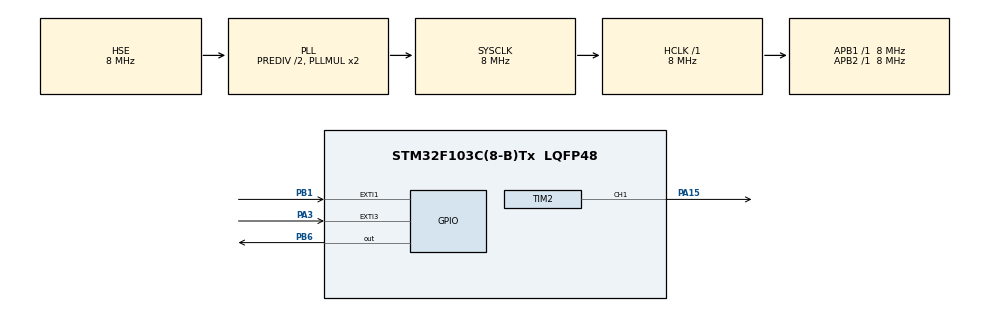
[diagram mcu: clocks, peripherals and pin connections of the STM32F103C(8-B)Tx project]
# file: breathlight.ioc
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Mcu.Family=STM32F1
Mcu.Name=STM32F103C(8-B)Tx
Mcu.Package=LQFP48
NVIC.EXTI1_IRQn=true\:0\:0\:false\:false\:true\:true\:true\:true
NVIC.EXTI3_IRQn=true\:0\:0\:false\:false\:true\:true\:true\:true
NVIC.PriorityGroup=NVIC_PRIORITYGROUP_4
NVIC.TIM4_IRQn=true\:0\:0\:false\:false\:true\:true\:true\:true
PA13.Mode=Serial_Wire
PA13.Signal=SYS_JTMS-SWDIO
PA14.Mode=Serial_Wire
PA14.Signal=SYS_JTCK-SWCLK
PA15.GPIO_ModeDefaultPP=GPIO_MODE_AF_PP
PA15.Signal=S_TIM2_CH1_ETR
PA3.GPIO_ModeDefaultEXTI=GPIO_MODE_IT_FALLING
PA3.GPIO_PuPd=GPIO_PULLUP
PA3.Signal=GPXTI3
PB1.GPIO_ModeDefaultEXTI=GPIO_MODE_IT_FALLING
PB1.GPIO_PuPd=GPIO_PULLUP
PB1.Signal=GPXTI1
PB6.Signal=GPIO_Output
PD0-OSC_IN.Mode=HSE-External-Oscillator
PD0-OSC_IN.Signal=RCC_OSC_IN
PD1-OSC_OUT.Mode=HSE-External-Oscillator
PD1-OSC_OUT.Signal=RCC_OSC_OUT
ProjectManager.HeapSize=0x200
ProjectManager.StackSize=0x400
ProjectManager.TargetToolchain=CMake
RCC.AHBFreq_Value=8000000
RCC.APB1Freq_Value=8000000
RCC.APB1TimFreq_Value=8000000
RCC.APB2Freq_Value=8000000
RCC.APB2TimFreq_Value=8000000
RCC.HCLKFreq_Value=8000000
RCC.HSEDivPLL=RCC_HSE_PREDIV_DIV2
RCC.PLLSourceVirtual=RCC_PLLSOURCE_HSE
RCC.SYSCLKFreq_VALUE=8000000
RCC.SYSCLKSource=RCC_SYSCLKSOURCE_PLLCLK
RCC.USBFreq_Value=8000000
SH.S_TIM2_CH1_ETR.0=TIM2_CH1,PWM Generation1 CH1
TIM2.AutoReloadPreload=TIM_AUTORELOAD_PRELOAD_ENABLE
TIM2.Channel-PWM\ Generation1\ CH1=TIM_CHANNEL_1
TIM2.Period=99
TIM2.Prescaler=799
TIM4.AutoReloadPreload=TIM_AUTORELOAD_PRELOAD_ENABLE
TIM4.Period=999
TIM4.Prescaler=7999
VP_TIM2_VS_ClockSourceINT.Mode=Internal
VP_TIM4_VS_ClockSourceINT.Mode=Internal
board=custom

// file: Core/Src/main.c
/* USER CODE BEGIN Header */
/**
  ******************************************************************************
  * @file           : main.c
  * @brief          : Main program body
  ******************************************************************************
  * @attention
  *
  * Copyright (c) 2026 STMicroelectronics.
  * All rights reserved.
  *
  * This software is licensed under terms that can be found in the LICENSE file
  * in the root directory of this software component.
  * If no LICENSE file comes with this software, it is provided AS-IS.
  *
  ******************************************************************************
  */
/* USER CODE END Header */
#include "main.h"

/* USER CODE BEGIN Includes */
//12345665356651651
/* USER CODE END Includes */

TIM_HandleTypeDef htim2;
TIM_HandleTypeDef htim4;

void SystemClock_Config(void);
static void MX_GPIO_Init(void);
static void MX_TIM2_Init(void);
static void MX_TIM4_Init(void);

/* USER CODE BEGIN 0 */
int a = 1;
/* USER CODE END 0 */

int main(void)
{

  /* MCU Configuration--------------------------------------------------------*/

  /* Reset of all peripherals, Initializes the Flash interface and the Systick. */
  HAL_Init();

  /* Configure the system clock */
  SystemClock_Config();

  /* Initialize all configured peripherals */
  MX_GPIO_Init();
  MX_TIM2_Init();
  MX_TIM4_Init();

  /* Infinite loop */
  /* USER CODE BEGIN WHILE */
  while (1)
  {
    HAL_TIM_PWM_Start(&htim2,TIM_CHANNEL_1);
    HAL_StatusTypeDef status = HAL_TIM_Base_Start_IT(&htim4);
    int i = 0;
    HAL_GPIO_WritePin(GPIOB, GPIO_PIN_6,GPIO_PIN_SET);
    while (1)
    {
      if (a == 1)
      {
        while (1)
        {
          __HAL_TIM_SET_COMPARE(&htim2,TIM_CHANNEL_1,i);
          HAL_Delay(10);
          if (i >= 100)
            break;
            i++;
        }
        while (1)
        {
          __HAL_TIM_SET_COMPARE(&htim2,TIM_CHANNEL_1,i);
          HAL_Delay(10);
          if (i == 0)
            break;
            i--;
        }
      }
      if (a ==2)
      {
        while (1)
        {
          __HAL_TIM_SET_COMPARE(&htim2,TIM_CHANNEL_1,i);
          HAL_Delay(10);
          if (i >= 100)
            break;
          i = i + 5;
        }
        i = 100;
        while (1)
        {
          __HAL_TIM_SET_COMPARE(&htim2,TIM_CHANNEL_1,i);
          HAL_Delay(10);
          if (i == 0)
            break;
          i = i - 5;
        }
      }
      if (a == 0)
      {
        __HAL_TIM_SET_COMPARE(&htim2,TIM_CHANNEL_1,0);

      }
    }
    /* USER CODE END WHILE */

  }
}

void SystemClock_Config(void)
{
  RCC_OscInitTypeDef RCC_OscInitStruct = {0};
  RCC_ClkInitTypeDef RCC_ClkInitStruct = {0};

  /** Initializes the RCC Oscillators according to the specified parameters
  * in the RCC_OscInitTypeDef structure.
  */
  RCC_OscInitStruct.OscillatorType = RCC_OSCILLATORTYPE_HSE;
  RCC_OscInitStruct.HSEState = RCC_HSE_ON;
  RCC_OscInitStruct.HSEPredivValue = RCC_HSE_PREDIV_DIV2;
  RCC_OscInitStruct.HSIState = RCC_HSI_ON;
  RCC_OscInitStruct.PLL.PLLState = RCC_PLL_ON;
  RCC_OscInitStruct.PLL.PLLSource = RCC_PLLSOURCE_HSE;
  RCC_OscInitStruct.PLL.PLLMUL = RCC_PLL_MUL2;
  if (HAL_RCC_OscConfig(&RCC_OscInitStruct) != HAL_OK)
  {
    Error_Handler();
  }

  /** Initializes the CPU, AHB and APB buses clocks
  */
  RCC_ClkInitStruct.ClockType = RCC_CLOCKTYPE_HCLK|RCC_CLOCKTYPE_SYSCLK
                              |RCC_CLOCKTYPE_PCLK1|RCC_CLOCKTYPE_PCLK2;
  RCC_ClkInitStruct.SYSCLKSource = RCC_SYSCLKSOURCE_PLLCLK;
  RCC_ClkInitStruct.AHBCLKDivider = RCC_SYSCLK_DIV1;
  RCC_ClkInitStruct.APB1CLKDivider = RCC_HCLK_DIV1;
  RCC_ClkInitStruct.APB2CLKDivider = RCC_HCLK_DIV1;

  if (HAL_RCC_ClockConfig(&RCC_ClkInitStruct, FLASH_LATENCY_0) != HAL_OK)
  {
    Error_Handler();
  }
}

static void MX_TIM2_Init(void)
{

  TIM_ClockConfigTypeDef sClockSourceConfig = {0};
  TIM_MasterConfigTypeDef sMasterConfig = {0};
  TIM_OC_InitTypeDef sConfigOC = {0};

  htim2.Instance = TIM2;
  htim2.Init.Prescaler = 799;
  htim2.Init.CounterMode = TIM_COUNTERMODE_UP;
  htim2.Init.Period = 99;
  htim2.Init.ClockDivision = TIM_CLOCKDIVISION_DIV1;
  htim2.Init.AutoReloadPreload = TIM_AUTORELOAD_PRELOAD_ENABLE;
  if (HAL_TIM_Base_Init(&htim2) != HAL_OK)
  {
    Error_Handler();
  }
  sClockSourceConfig.ClockSource = TIM_CLOCKSOURCE_INTERNAL;
  if (HAL_TIM_ConfigClockSource(&htim2, &sClockSourceConfig) != HAL_OK)
  {
    Error_Handler();
  }
  if (HAL_TIM_PWM_Init(&htim2) != HAL_OK)
  {
    Error_Handler();
  }
  sMasterConfig.MasterOutputTrigger = TIM_TRGO_RESET;
  sMasterConfig.MasterSlaveMode = TIM_MASTERSLAVEMODE_DISABLE;
  if (HAL_TIMEx_MasterConfigSynchronization(&htim2, &sMasterConfig) != HAL_OK)
  {
    Error_Handler();
  }
  sConfigOC.OCMode = TIM_OCMODE_PWM1;
  sConfigOC.Pulse = 0;
  sConfigOC.OCPolarity = TIM_OCPOLARITY_HIGH;
  sConfigOC.OCFastMode = TIM_OCFAST_DISABLE;
  if (HAL_TIM_PWM_ConfigChannel(&htim2, &sConfigOC, TIM_CHANNEL_1) != HAL_OK)
  {
    Error_Handler();
  }
  HAL_TIM_MspPostInit(&htim2);

}

static void MX_TIM4_Init(void)
{

  TIM_ClockConfigTypeDef sClockSourceConfig = {0};
  TIM_MasterConfigTypeDef sMasterConfig = {0};

  htim4.Instance = TIM4;
  htim4.Init.Prescaler = 7999;
  htim4.Init.CounterMode = TIM_COUNTERMODE_UP;
  htim4.Init.Period = 999;
  htim4.Init.ClockDivision = TIM_CLOCKDIVISION_DIV1;
  htim4.Init.AutoReloadPreload = TIM_AUTORELOAD_PRELOAD_ENABLE;
  if (HAL_TIM_Base_Init(&htim4) != HAL_OK)
  {
    Error_Handler();
  }
  sClockSourceConfig.ClockSource = TIM_CLOCKSOURCE_INTERNAL;
  if (HAL_TIM_ConfigClockSource(&htim4, &sClockSourceConfig) != HAL_OK)
  {
    Error_Handler();
  }
  sMasterConfig.MasterOutputTrigger = TIM_TRGO_RESET;
  sMasterConfig.MasterSlaveMode = TIM_MASTERSLAVEMODE_DISABLE;
  if (HAL_TIMEx_MasterConfigSynchronization(&htim4, &sMasterConfig) != HAL_OK)
  {
    Error_Handler();
  }

}

static void MX_GPIO_Init(void)
{
  GPIO_InitTypeDef GPIO_InitStruct = {0};

  /* GPIO Ports Clock Enable */
  __HAL_RCC_GPIOD_CLK_ENABLE();
  __HAL_RCC_GPIOA_CLK_ENABLE();
  __HAL_RCC_GPIOB_CLK_ENABLE();

  /*Configure GPIO pin Output Level */
  HAL_GPIO_WritePin(GPIOB, GPIO_PIN_6, GPIO_PIN_RESET);

  /*Configure GPIO pin : PA3 */
  GPIO_InitStruct.Pin = GPIO_PIN_3;
  GPIO_InitStruct.Mode = GPIO_MODE_IT_FALLING;
  GPIO_InitStruct.Pull = GPIO_PULLUP;
  HAL_GPIO_Init(GPIOA, &GPIO_InitStruct);

  /*Configure GPIO pin : PB1 */
  GPIO_InitStruct.Pin = GPIO_PIN_1;
  GPIO_InitStruct.Mode = GPIO_MODE_IT_FALLING;
  GPIO_InitStruct.Pull = GPIO_PULLUP;
  HAL_GPIO_Init(GPIOB, &GPIO_InitStruct);

  /*Configure GPIO pin : PB6 */
  GPIO_InitStruct.Pin = GPIO_PIN_6;
  GPIO_InitStruct.Mode = GPIO_MODE_OUTPUT_PP;
  GPIO_InitStruct.Pull = GPIO_NOPULL;
  GPIO_InitStruct.Speed = GPIO_SPEED_FREQ_LOW;
  HAL_GPIO_Init(GPIOB, &GPIO_InitStruct);

  /* EXTI interrupt init*/
  HAL_NVIC_SetPriority(EXTI1_IRQn, 0, 0);
  HAL_NVIC_EnableIRQ(EXTI1_IRQn);

  HAL_NVIC_SetPriority(EXTI3_IRQn, 0, 0);
  HAL_NVIC_EnableIRQ(EXTI3_IRQn);

}

/* USER CODE BEGIN 4 */
void HAL_GPIO_EXTI_Callback(uint16_t GPIO_Pin)
{
  if (GPIO_Pin == GPIO_PIN_3)
  {
    if (a==2||a==0)
      a = 1;
    else a = 2;
  }
  if (GPIO_Pin == GPIO_PIN_1)
    a = 0;
}
void HAL_TIM_PeriodElapsedCallback(TIM_HandleTypeDef *htim)
{
  if (a!=0)
  {
    if (htim->Instance == TIM4)
    {
      HAL_GPIO_TogglePin(GPIOB, GPIO_PIN_6);
    }
  }
  else HAL_GPIO_WritePin(GPIOB, GPIO_PIN_6,GPIO_PIN_RESET);
}
/* USER CODE END 4 */

void Error_Handler(void)
{
  __disable_irq();
  while (1)
  {
  }
}
